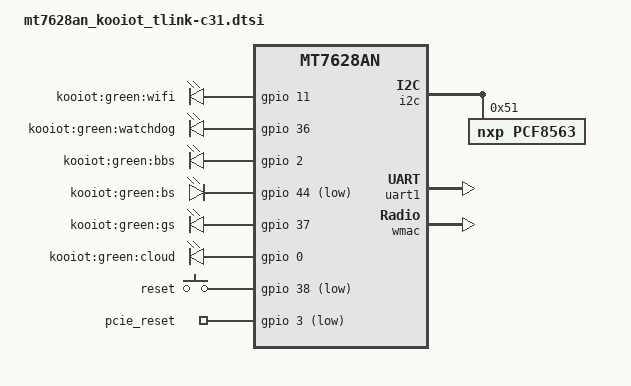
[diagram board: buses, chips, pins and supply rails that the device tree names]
#include "mt7628an.dtsi"

#include <dt-bindings/gpio/gpio.h>
#include <dt-bindings/input/input.h>

/ {
	compatible = "kooiot,tlink-c31", "mediatek,mt7628an-soc";

	aliases {
		/*
		led-boot = &led_status;
		led-failsafe = &led_status;
		led-upgrade = &led_status;
		*/
	};

	chosen {
		bootargs = "console=ttyS2,115200"; /* fake the console */
	};

	leds {
		compatible = "gpio-leds";

		wifi {
			label = "kooiot:green:wifi";
			gpios = <&gpio 11 GPIO_ACTIVE_HIGH>;
		};

		watchdog {
			label = "kooiot:green:watchdog";
			gpios = <&gpio 36 GPIO_ACTIVE_HIGH>;
			default-state = "on";
			linux,default-trigger = "heartbeat";
		};

		bbs {
			label = "kooiot:green:bbs";
			gpios = <&gpio 2 GPIO_ACTIVE_HIGH>;
		};

		bs {
			label = "kooiot:green:bs";
			gpios = <&gpio 44 GPIO_ACTIVE_LOW>;
		};

		gs {
			label = "kooiot:green:gs";
			gpios = <&gpio 37 GPIO_ACTIVE_HIGH>;
		};

		cloud {
			label = "kooiot:green:cloud";
			gpios = <&gpio 0 GPIO_ACTIVE_HIGH>;
		};
	};

	keys {
		compatible = "gpio-keys";

		/*
		wps {
			label = "wps";
			gpios = <&gpio 38 GPIO_ACTIVE_LOW>;
			linux,code = <KEY_WPS_BUTTON>;
		};
		*/

		reset {
			label = "reset";
			gpios = <&gpio 38 GPIO_ACTIVE_LOW>;
			linux,code = <KEY_RESTART>;
		};
	};

	gpio_export {
		compatible = "gpio-export";
		#size-cells = <0>;

		pcie_reset {
			gpio-export,name = "pcie_reset";
			gpio-export,output = <1>;
			gpios = <&gpio 3 GPIO_ACTIVE_LOW>; /* this power actually */
		};
	};

	nvmem_sysc: eeprom@10000000 {
		compatible = "ralink,nvmem-mt7688-sysc";
		#address-cells = <1>;
		#size-cells = <0>;

		ralink,nvmem-size = <0x80>;
		ralink,nvmem-writable;
		/* Data cells */
		agpio: agpio@3c {
			reg = <0x3c 0x04>;
		};
		gpio1: gpio1@60 {
			reg = <0x60 0x04>;
		};
		gpio2: gpio2@64 {
			reg = <0x64 0x04>;
		};
	};
};

&state_default {
	gpio {
		groups = "gpio", "wdt", "refclk", "i2s", "perst", "spi cs1", "wled_an";
		function = "gpio";
	};

	p0led_an {
		groups = "p0led_an";
		function = "p0led_an";
	};

	p1led_an {
		groups = "p1led_an";
		function = "p1led_an";
	};

	p2led_an {
		groups = "p2led_an";
		function = "p2led_an";
	};

	p3led_an {
		groups = "p3led_an";
		function = "p3led_an";
	};

	p4led_an {
		groups = "p4led_an";
		function = "p4led_an";
	};
};

&i2c {
	status = "okay";

	pcf8563: rtc@51 {
		status = "okay";
		compatible = "nxp,pcf8563";
		reg = <0x51>;
	};
};

&uart1 {
	status = "okay";
};

&ethernet {
	mtd-mac-address = <&factory 0x19c>;
};

&wmac {
	status = "okay";
	mediatek,mtd-eeprom = <&factory 0x8000>;
};
